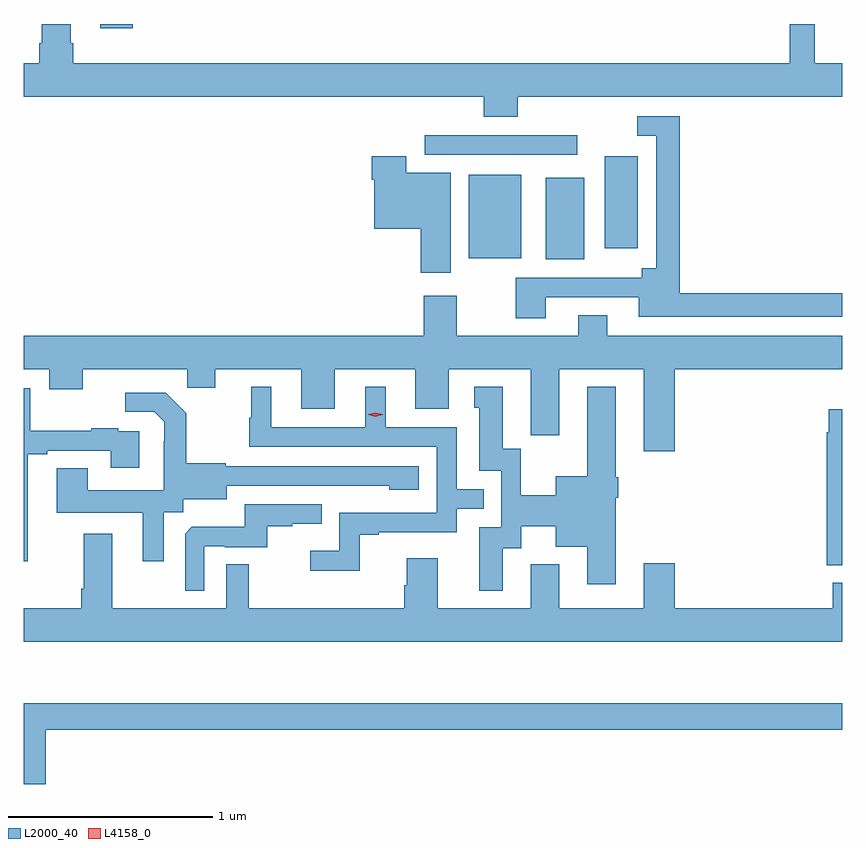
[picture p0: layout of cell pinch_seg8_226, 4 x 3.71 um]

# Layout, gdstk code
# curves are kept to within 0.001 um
import gdstk
lib = gdstk.Library(unit=1e-6, precision=1e-09)
def R(c, l, rs):  # rectangles x0, y0, x1, y1
    for r in rs: c.add(gdstk.rectangle(r[:2], r[2:], *l))
def P(c, l, *ps):  # polygons
    for p in ps: c.add(gdstk.Polygon(p, *l))
L2000_40 = (2000, 40)
L4158_0 = (4158, 0)

pinch_seg8_226 = lib.new_cell('pinch_seg8_226')
R(pinch_seg8_226, L2000_40, [(736.946,1114.373,737.134,1114.771), (736.568,1114.379,736.825,1114.786), (737.234,1114.428,737.395,1114.876), (736.353,1114.884,737.098,1114.98), (734.768,1115.502,734.927,1115.523)])
P(pinch_seg8_226, L2000_40, [(736.808,1115.168),(738.394,1115.168),(738.394,1115.332),(738.259,1115.332),(738.259,1115.523),(738.138,1115.523),(738.138,1115.332),(734.636,1115.332),(734.636,1115.428),(734.623,1115.428),(734.623,1115.523),(734.483,1115.523),(734.483,1115.428),(734.471,1115.428),(734.471,1115.332),(734.394,1115.332),(734.394,1115.168),(736.643,1115.168),(736.643,1115.069),(736.808,1115.069)],
  [(736.945,1114.188),(737.399,1114.188),(737.399,1114.092),(738.394,1114.092),(738.394,1114.208),(737.6,1114.208),(737.6,1115.073),(737.391,1115.073),(737.391,1114.977),(737.484,1114.977),(737.484,1114.33),(737.414,1114.33),(737.414,1114.284),(736.798,1114.284),(736.798,1114.086),(736.945,1114.086)],
  [(736.48,1114.795),(736.264,1114.795),(736.264,1114.876),(736.094,1114.876),(736.094,1114.763),(736.106,1114.763),(736.106,1114.523),(736.334,1114.523),(736.334,1114.308),(736.48,1114.308)],
  [(737.576,1113.836),(738.394,1113.836),(738.394,1114),(737.245,1114),(737.245,1114.099),(737.105,1114.099),(737.105,1114),(736.509,1114),(736.509,1114.195),(736.349,1114.195),(736.349,1114),(734.394,1114),(734.394,1113.836),(734.519,1113.836),(734.519,1113.737),(734.683,1113.737),(734.683,1113.836),(735.193,1113.836),(735.193,1113.746),(735.331,1113.746),(735.331,1113.836),(735.749,1113.836),(735.749,1113.642),(735.913,1113.642),(735.913,1113.836),(736.307,1113.836),(736.307,1113.642),(736.471,1113.642),(736.471,1113.836),(736.871,1113.836),(736.871,1113.625),(736.872,1113.625),(736.872,1113.513),(737.011,1113.513),(737.011,1113.836),(737.423,1113.836),(737.423,1113.435),(737.576,1113.435)],
  [(736.035,1113.027),(736.129,1113.027),(736.129,1113.039),(736.509,1113.039),(736.509,1113.153),(736.643,1113.153),(736.643,1113.249),(736.509,1113.249),(736.509,1113.552),(736.162,1113.552),(736.162,1113.751),(736.064,1113.751),(736.064,1113.552),(735.604,1113.552),(735.604,1113.751),(735.506,1113.751),(735.506,1113.6),(735.495,1113.6),(735.495,1113.456),(736.413,1113.456),(736.413,1113.135),(735.936,1113.135),(735.936,1112.95),(735.795,1112.95),(735.795,1112.852),(736.035,1112.852)],
  [(736.735,1112.962),(736.825,1112.962),(736.825,1113.068),(736.994,1113.068),(736.994,1112.969),(737.147,1112.969),(737.147,1112.784),(737.287,1112.784),(737.287,1113.209),(737.3,1113.209),(737.3,1113.309),(737.287,1113.309),(737.287,1113.751),(737.147,1113.751),(737.147,1113.313),(736.994,1113.313),(736.994,1113.22),(736.824,1113.22),(736.824,1113.447),(736.735,1113.447),(736.735,1113.751),(736.595,1113.751),(736.595,1113.648),(736.619,1113.648),(736.619,1113.339),(736.728,1113.339),(736.728,1113.063),(736.619,1113.063),(736.619,1112.754),(736.735,1112.754)],
  [(734.413,1113.42),(734.509,1113.42),(734.509,1113.438),(734.819,1113.438),(734.819,1113.354),(734.959,1113.354),(734.959,1113.534),(734.855,1113.534),(734.855,1113.547),(734.723,1113.547),(734.723,1113.536),(734.425,1113.536),(734.425,1113.744),(734.394,1113.744),(734.394,1112.898),(734.413,1112.898)],
  [(735.079,1113.136),(735.174,1113.136),(735.174,1113.2),(735.385,1113.2),(735.385,1113.267),(736.179,1113.266),(736.179,1113.248),(736.324,1113.248),(736.324,1113.363),(735.381,1113.363),(735.381,1113.376),(735.189,1113.376),(735.189,1113.621),(735.089,1113.721),(734.889,1113.721),(734.889,1113.627),(735.033,1113.627),(735.08,1113.58),(735.08,1113.485),(735.078,1113.485),(735.078,1113.244),(734.707,1113.244),(734.707,1113.353),(734.555,1113.353),(734.555,1113.134),(734.975,1113.134),(734.975,1112.898),(735.079,1112.898)],
  [(738.394,1113.64),(738.327,1113.64),(738.327,1113.527),(738.319,1113.527),(738.319,1112.877),(738.394,1112.877)],
  [(735.276,1112.97),(735.376,1112.97),(735.376,1112.967),(735.584,1112.967),(735.584,1113.069),(735.707,1113.069),(735.707,1113.08),(735.851,1113.08),(735.851,1113.177),(735.474,1113.177),(735.474,1113.065),(735.215,1113.065),(735.183,1113.033),(735.183,1112.753),(735.276,1112.753)],
  [(738.394,1112.792),(738.347,1112.792),(738.347,1112.668),(737.576,1112.668),(737.576,1112.887),(737.423,1112.887),(737.423,1112.668),(737.011,1112.668),(737.011,1112.884),(736.871,1112.884),(736.871,1112.668),(736.417,1112.668),(736.417,1112.911),(736.265,1112.911),(736.265,1112.781),(736.253,1112.781),(736.253,1112.668),(735.493,1112.668),(735.493,1112.882),(735.384,1112.882),(735.384,1112.668),(734.827,1112.668),(734.827,1113.031),(734.687,1113.031),(734.687,1112.764),(734.675,1112.764),(734.675,1112.668),(734.394,1112.668),(734.394,1112.504),(738.394,1112.504)],
  [(734.501,1112.074),(738.394,1112.074),(738.394,1112.203),(734.394,1112.203),(734.394,1111.809),(734.501,1111.809)])
P(pinch_seg8_226, L4158_0, [(736.113,1113.604),(736.077,1113.614),(736.077,1113.614),(736.077,1113.615),(736.113,1113.624),(736.148,1113.615),(736.149,1113.614),(736.148,1113.614)])

lib.write_gds('pinch_seg8_226.gds')
